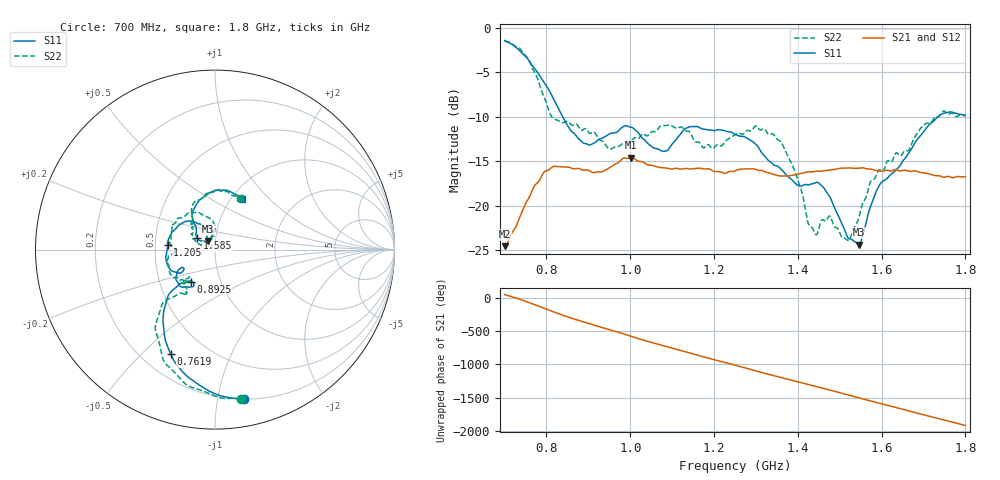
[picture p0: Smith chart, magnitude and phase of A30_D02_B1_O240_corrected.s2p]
! Created with skrf 1.9.0 (http://scikit-rf.org).
# Hz S RI R 50.0
!freq ReS11 ImS11 ReS21 ImS21 ReS12 ImS12 ReS22 ImS22
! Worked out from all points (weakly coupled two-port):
!   1601 points, 700 MHz to 1.8 GHz, reference 50 ohm
!   highest |S21| = -14.59 dB at 1.002 GHz (marker M1); lowest = -24.6 dB at 700.7 MHz (marker M2)
!   lowest |S11| = -24.4 dB at 1.546 GHz (marker M3), VSWR 1.13, Z = 46.2 + j4.41 ohm
!   |S11| at or under -10 dB: 838.6 MHz to 1.734 GHz (895.7 MHz wide, 69.6 % of centre)
!   |S22| runs from -23.9 to -1.5 dB; largest |S21 - S12| = 0.0035
!   S11 on the Smith chart (normalised r, x): 700 MHz: 0.20, -1.19; 761.9 MHz: 0.32, -0.62; 892.5 MHz: 0.72, -0.27; 1.205 GHz: 0.58, +0.03; 1.585 GHz: 0.82, +0.10; 1.8 GHz: 1.12, +0.71
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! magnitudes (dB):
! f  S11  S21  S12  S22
! 700 MHz  -1.4  -24.6  -24.3  -1.5
! 700.7 MHz  -1.4  -24.6  -24.3  -1.5
! 761.9 MHz  -4.0  -18.7  -18.7  -4.0
! 814.1 MHz  -7.7  -15.6  -15.7  -10.1
! 883.6 MHz  -12.8  -16.0  -15.8  -11.5
! 892.5 MHz  -13.0  -16.0  -16.1  -11.3
! 950.9 MHz  -11.9  -15.7  -15.7  -13.7
! 1.002 GHz  -11.2  -14.6  -14.7  -12.7
! 1.067 GHz  -13.7  -15.7  -15.6  -11.3
! 1.139 GHz  -11.2  -15.9  -15.8  -11.6
! 1.205 GHz  -11.5  -16.2  -16.2  -13.2
! 1.25 GHz  -12.0  -16.1  -16.0  -12.0
! 1.3 GHz  -13.1  -15.9  -15.9  -11.0
! 1.359 GHz  -15.9  -16.7  -16.7  -12.8
! 1.434 GHz  -17.6  -16.2  -16.2  -22.5
! 1.476 GHz  -19.0  -16.0  -16.0  -21.2
! 1.52 GHz  -23.7  -15.8  -15.8  -23.9
! 1.546 GHz  -24.4  -15.8  -15.8  -21.2
! 1.585 GHz  -18.7  -16.0  -16.0  -16.9
! 1.617 GHz  -16.7  -16.1  -16.0  -15.0
! 1.737 GHz  -9.9  -16.6  -16.7  -10.0
! 1.8 GHz  -9.8  -16.7  -16.7  -9.9
